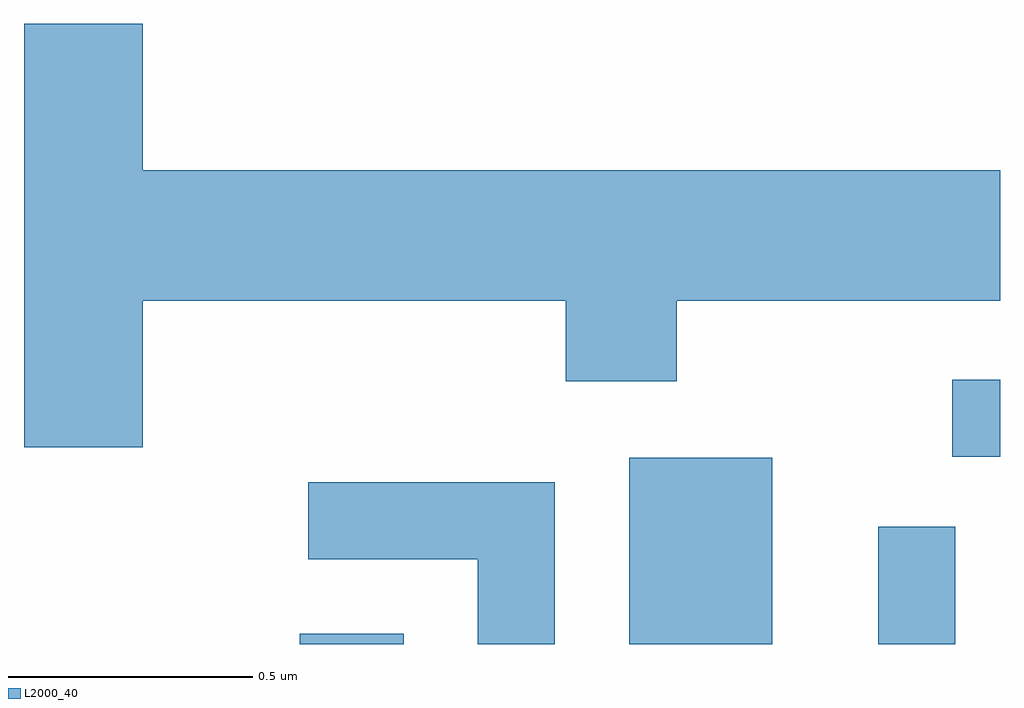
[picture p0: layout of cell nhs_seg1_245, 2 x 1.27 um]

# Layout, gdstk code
import gdstk
lib = gdstk.Library(unit=1e-6, precision=1e-09)
def R(c, l, rs):  # rectangles x0, y0, x1, y1
    for r in rs: c.add(gdstk.rectangle(r[:2], r[2:], *l))
def P(c, l, *ps):  # polygons
    for p in ps: c.add(gdstk.Polygon(p, *l))
L2000_40 = (2000, 40)

nhs_seg1_245 = lib.new_cell('nhs_seg1_245')
R(nhs_seg1_245, L2000_40, [(187.176,947.712,187.389,947.734), (187.851,947.712,188.144,948.094), (188.361,947.712,188.519,947.953), (188.513,948.096,188.611,948.254)])
P(nhs_seg1_245, L2000_40, [(186.854,948.416),(187.721,948.416),(187.721,948.251),(187.949,948.251),(187.949,948.416),(188.611,948.416),(188.611,948.684),(186.854,948.684),(186.854,948.984),(186.611,948.984),(186.611,948.116),(186.854,948.116)],
  [(187.699,948.044),(187.193,948.044),(187.193,947.886),(187.541,947.886),(187.541,947.712),(187.699,947.712)])

lib.write_gds('nhs_seg1_245.gds')
